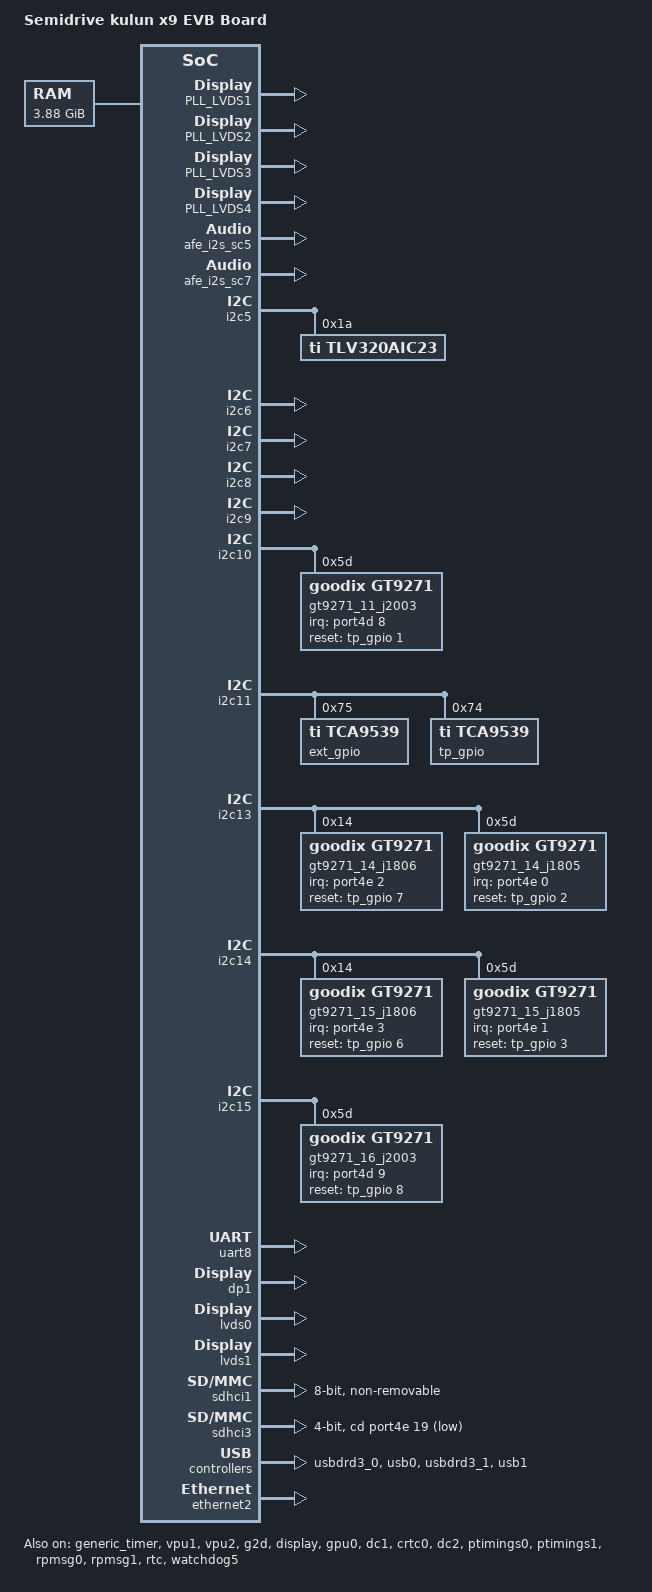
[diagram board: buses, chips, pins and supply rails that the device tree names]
/*
 * Semidrive kunlun platform DTS file
 *
 * Copyright (C) 2019, Semidrive  Communications Inc.
 *
 * This file is licensed under a dual GPLv2 or X11 license.
 */

/dts-v1/;

#include "../x9_high_ecockpit.dtsi"
#include "x9_high_evb_memdisk-clk-ctrl.dtsi"
#include "../lcd-timings.dtsi"
#include <dt-bindings/pinctrl/pins-sdx9.h>
#include <dt-bindings/rpmsg/sd,x9h-default.h>

/ {
	model = "Semidrive kulun x9 EVB Board";

	compatible = "semidrive,kunlun";

	aliases {
		serial0 = &uart8;
		ethernet2 = &ethernet2;
	};

	memory@50000000 {
		device_type = "memory";
		reg = <0 0x48000000 0 0xf8000000>;
	};

	reserved-memory {
		#address-cells = <2>;
		#size-cells = <2>;
		ranges;

		/* Default Common CMA Pool */
		/* QUIRK: Must be kept in the lower 4096 MiBs of DRAM banks for VE */
		linux,cma {
			compatible = "shared-dma-pool";
			reusable;
			size = <0x0 0x20000000>; /* 512MB */
			/* 4GB maximum in case of 32-bit only capable devices */
			alloc-ranges = <0x0 0x0 0x0 0xffffffff>;
			linux,cma-default;
		};

		rproc_0_safety: rproc@0 {
			compatible = "shared-dma-pool";
			no-map;
			reg = <0x0 RPMSG0_MEM_POOL_BASE 0x0 RPMSG0_MEM_POOL_SIZE>;
		};

		rproc_1_secure: rproc@1 {
			compatible = "shared-dma-pool";
			no-map;
			reg = <0x0 RPMSG1_MEM_POOL_BASE 0x0 RPMSG1_MEM_POOL_SIZE>;
		};

		memdisk_reserved: memdisk@80000000 {
			reg = <0x0 0x80000000 0x0 0x80000000>;
			no-map;
			status = "okay";
		};
	};

	chosen {
		bootargs = "root=/dev/ram0 rootfstype=ramfs highres=0 earlycon loglevel=4 console=ttyS0,115200n8 androidboot.mode=normal androidboot.selinux=permissive  androidboot.debuggable=0 androidboot.dm_verity=disable init=/init blkdevparts=memdisk0:1152M(system),512M(userdata),256M(vendor) ";
		stdout-path = "serial0";
		linux,initrd-start = <0x4fe00000>;
		linux,initrd-end   = <0x5008cba2>;
	};

	sound_tlv320aic23: sound@tlv320aic23 {
		compatible = "semidrive,x9-tlv320aic23";
		semidrive,hp-spk-amp-warmup-time-us = <1>;
		semidrive,hp-spk-amp-shutdown-time-us = <800>;
		semidrive,audio-codec = <&tlv320aic23>;
		//jack-gpio = <&ext_gpio 4 GPIO_ACTIVE_HIGH>;
		//pinctrl-names = "default", "extamp_on", "extamp_off";
		//pinctrl-0 = <&aud_pins_default>;
		//pinctrl-1 = <&aud_pins_extamp_on>;
		//pinctrl-2 = <&aud_pins_extamp_off>;
		status = "okay";
	};

	memdisk: memdisk@0 {
		#address-cells = <2>;
		#size-cells = <2>;
		compatible = "semidrive,memdisk";
		memory-region = <&memdisk_reserved>;
		status = "okay";
	};
};
/* some plls just disabled because the emu not include the module, if you confirm it's included, you can enabled it */
&PLL_CPU1A {
	status = "okay";
};
&PLL_CPU1B {
	status = "okay";
};

&PLL_GPU1 {
	status = "okay";
};
&PLL_GPU2 {
	status = "okay";
};
&PLL_VPU {
	status = "okay";
};
&PLL_VSN {
	status = "disabled";
};
&PLL_HPI {
	status = "okay";
};
&PLL_HIS {
	status = "okay";
};
&PLL_DDR {
	status = "okay";
};
&PLL3 {
	status = "okay";
};
&PLL4 {
	status = "okay";
};
&PLL5 {
	status = "okay";
};
&PLL6 {
	status = "okay";
};
&PLL7 {
	status = "okay";
};
&PLL_DISP {
	status = "okay";
};
&PLL_LVDS1 {
	status = "okay";
};
&PLL_LVDS2 {
	status = "okay";
};
&PLL_LVDS3 {
	status = "okay";
};
&PLL_LVDS4 {
	status = "okay";
};

&dmac2 {
	status = "okay";
};

&dmac3 {
	status = "okay";
};

&dmac4 {
	status = "okay";
};

&dmac5 {
	status = "okay";
};

&dmac6 {
	status = "okay";
};

&dmac7 {
	status = "okay";
};

&afe_i2s_sc5{
	dmas = <&dmac2 X9_DMA_SLV_ID_I2S_SC6_TX>, <&dmac2 X9_DMA_SLV_ID_I2S_SC6_RX>;
	dma-names = "tx", "rx";
	status = "okay";
};

&afe_i2s_sc7{
	dmas = <&dmac2 X9_DMA_SLV_ID_I2S_SC8_TX>, <&dmac2 X9_DMA_SLV_ID_I2S_SC8_RX>;
	dma-names = "tx", "rx";
	status = "okay";
};

&i2c5 {
        status = "okay";
	tlv320aic23: codec@1a {
		compatible = "ti,tlv320aic23";
		reg = <0x1a>;
	};
	/*
	tlv320aic23: codec@1b {
		compatible = "ti,tlv320aic23";
		reg = <0x1b>;
	}; */
};

&i2c6 {
	status = "okay";
};

&i2c7 {
        status = "okay";
};

&i2c8 {
        status = "okay";
};

&i2c9 {
        status = "okay";
};


&i2c10 {
        status = "okay";
	gt9271_11_j2003:gt9271_11_j2003@5d {
		//pinctrl-names = "default";
		//pinctrl-0 = <&pinctrl_gpiotouch_mipi>;
		compatible = "goodix,gt9271";
		irq-gpios = <&port4d 8 0>;	/*io56*/
		reset-gpios = <&tp_gpio 1 0>;	/*index 1*/
		reg = <0x5d>;
	};
};

&i2c11 {
        status = "okay";
	ext_gpio: gpio@75 {
		compatible = "ti,tca9539";
		reg = <0x75>;
		#gpio-cells = <2>;
		gpio-controller;
	};
	tp_gpio: gpio@74 {
		compatible = "ti,tca9539";
		reg = <0x74>;
		#gpio-cells = <2>;
		gpio-controller;
	};
};

&i2c12 {
	status = "disabled";
};

&i2c13 {
        status = "okay";
	gt9271_14_j1806:gt9271_14_j1806@14 {
                //pinctrl-names = "default";
                //pinctrl-0 = <&pinctrl_gpiotouch_lvds>;
                compatible = "goodix,gt9271";
		irq-gpios = <&port4e 2 0>;	/*io82*/
                reset-gpios = <&tp_gpio 7 0>;	/*index 8*/
                reg = <0x14>;
        };
	gt9271_14_j1805:gt9271_14_j1805@5d {
                //pinctrl-names = "default";
                //pinctrl-0 = <&pinctrl_gpiotouch_lvds>;
                compatible = "goodix,gt9271";
		irq-gpios = <&port4e 0 0>;	/*io80*/
                reset-gpios = <&tp_gpio 2 0>;	/*index 2*/
                reg = <0x5d>;
        };

};

&i2c14 {
	status = "okay";
	gt9271_15_j1806:gt9271_15_j1806@14 {
		//pinctrl-names = "default";
		//pinctrl-0 = <&pinctrl_gpiotouch_lvds>;
		compatible = "goodix,gt9271";
		irq-gpios = <&port4e 3 0>;	/*io83*/
		reset-gpios = <&tp_gpio 6 0>;	/*index 6*/
		reg = <0x14>;
	};
	gt9271_15_j1805:gt9271_15_j1805@5d {
		//pinctrl-names = "default";
		//pinctrl-0 = <&pinctrl_gpiotouch_lvds>;
		compatible = "goodix,gt9271";
		irq-gpios = <&port4e 1 0>;	/*io81*/
		reset-gpios = <&tp_gpio 3 0>;		/*index 3*/
		reg = <0x5d>;
	};
};

&i2c15 {
	status = "okay";
	gt9271_16_j2003:gt9271_16_j2003@5d {
		//pinctrl-names = "default";
		//pinctrl-0 = <&pinctrl_gpiotouch_mipi>;
		compatible = "goodix,gt9271";
		irq-gpios = <&port4d 9 0>;	/*io57*/
		reset-gpios = <&tp_gpio 8 0>;	/*index 8*/
		reg = <0x5d>;
	};
};

&uart8 {
	dmas = <&dmac2 X9_DMA_SLV_ID_UART9_TX>, <&dmac2 X9_DMA_SLV_ID_UART9_RX>;
	dma-names = "tx", "rx";
	status = "okay";
};

&generic_timer {
	status = "okay";
};

&vpu1 {
    status = "okay";
};

&vpu2 {
    status = "okay";
};

&g2d {
	status = "okay";
};

&display {
	sdriv,crtc = <&crtc0 &crtc1>;
	status = "okay";
};

&gpu0 {
	status = "okay";
};

&dp1 {
	status = "okay";
};

&dc1 {
	status = "okay";
};

&crtc0 {
	dpc-master = <&dp1 &dc1>;
	status = "okay";

	crtc0_out: port {
		crtc0_out_interface: endpoint@0 {
			remote-endpoint = <&lvds_in_crtc0>;
		};
	};
};

&dc2 {
	status = "okay";
};

&crtc1 {
	dpc-master = <&dc2>;

	crtc1_out: port {
		crtc1_out_interface: endpoint@0 {
			remote-endpoint = <&lvds_in_crtc1>;
		};
	};
};

&lvds0 {
	status = "okay";
};

&lvds1 {
	status = "okay";
};

&dtimings0 {
	native-mode = <&hd1280x800>;
};

&dtimings1 {
	native-mode = <&hd1280x800_1>;
};

&ptimings0 {
	status = "okay";
};

&ptimings1 {
	status = "okay";
};

&pinctrl {
	pinctrl-names = "default";

	sdx9-evk {
		pinctrl_mshc1: mshc1grp {
		kunlun,pins = <
			X9_PINCTRL_EMMC1_CLK__MSHC1_CLK_1 		X9_PINCTRL_OPEN_DRAIN_DISABLE
			X9_PINCTRL_EMMC1_CMD__MSHC1_CMD_1		X9_PINCTRL_OPEN_DRAIN_DISABLE
			X9_PINCTRL_EMMC1_DATA0__MSHC1_DATA_0_1	X9_PINCTRL_OPEN_DRAIN_DISABLE
			X9_PINCTRL_EMMC1_DATA1__MSHC1_DATA_1_1	X9_PINCTRL_OPEN_DRAIN_DISABLE
			X9_PINCTRL_EMMC1_DATA2__MSHC1_DATA_2_1	X9_PINCTRL_OPEN_DRAIN_DISABLE
			X9_PINCTRL_EMMC1_DATA3__MSHC1_DATA_3_1	X9_PINCTRL_OPEN_DRAIN_DISABLE
			X9_PINCTRL_EMMC1_DATA4__MSHC1_DATA_4_1	X9_PINCTRL_OPEN_DRAIN_DISABLE
			X9_PINCTRL_EMMC1_DATA5__MSHC1_DATA_5_1	X9_PINCTRL_OPEN_DRAIN_DISABLE
			X9_PINCTRL_EMMC1_DATA6__MSHC1_DATA_6_1	X9_PINCTRL_OPEN_DRAIN_DISABLE
			X9_PINCTRL_EMMC1_DATA7__MSHC1_DATA_7_1	X9_PINCTRL_OPEN_DRAIN_DISABLE
			X9_PINCTRL_EMMC1_STROBE__MSHC1_STB_1		X9_PINCTRL_OPEN_DRAIN_ENABLE
			X9_PINCTRL_EMMC1_RESET_N__MSHC1_RST_N_1	X9_PINCTRL_OPEN_DRAIN_DISABLE
			>;
		};

		pinctrl_gpiotouch_lvds: touchgrp_lvds {
                        kunlun,pins = <
			X9_PINCTRL_I2S_MC_SD4__GPIO_MUX2_IO80_1          0x00
			X9_PINCTRL_I2S_MC_SD5__GPIO_MUX2_IO81_1          0x00
                        X9_PINCTRL_I2S_MC_SD6__GPIO_MUX2_IO82_1          0x00
                        X9_PINCTRL_I2S_MC_SD7__GPIO_MUX2_IO83_1          0x00
                        >;
                };
		pinctrl_gpiotouch_mipi: touchgrp_mipi {
                        kunlun,pins = <
			X9_PINCTRL_I2S_SC3_SCK__GPIO_MUX2_IO56_1          0x00
			X9_PINCTRL_I2S_SC3_WS__GPIO_MUX2_IO57_1          0x00
                        >;
                };
		pinctrl_sddetect: sddetect {
			kunlun,pins = <
			X9_PINCTRL_EMMC2_DATA1__GPIO_MUX2_IO99_1	X9_PINCTRL_OPEN_DRAIN_ENABLE
			>;
		};
	};
};

&gpio4 {
	pinctrl-names = "default";
	pinctrl-0 = <&pinctrl_gpiotouch_lvds &pinctrl_gpiotouch_mipi>;
	status = "okay";
};

&sdhci1 {
	#clock-cells = <1>;
	clocks = <&EMMC1>;
	clock-names = "core";
	max-frequency = <160000000>;
	bus-width = <8>;
	non-removable;
	no-sdio;
	no-sd;
	card-is-emmc;
	disable-wp;
	cap-mmc-highspeed;
	keep-power-in-suspend;
	mmc-ddr-1_8v;
	mmc-hs200-1_8v;
	mmc-hs400-1_8v;
	mmc-hs400-enhanced-strobe;
	status = "okay";
};

&sdhci3 {
	#clock-cells = <1>;
	clocks = <&EMMC3>;
	clock-names = "core";
	max-frequency = <25000000>;
	pinctrl-names = "default";
	pinctrl-0 = <&pinctrl_sddetect>;
	cd-gpios = <&port4e 19 GPIO_ACTIVE_LOW>;
	bus-width = <4>;
	no-1-8-v;
	no-mmc;
	no-sdio;
	disable-wp;
	keep-power-in-suspend;
	status = "okay";
};

&mbox {
	status = "okay";
};

&mbox_test {
	status = "okay";
};

&rpmsg0 {
	memory-region = <&rproc_0_safety>;
	reg = <0x0 RPMSG0_MEM_HEAD_BASE 0x0 RPMSG0_MEM_HEAD_SIZE>;
	status = "okay";
};

&rpmsg1 {
	memory-region = <&rproc_1_secure>;
	reg = <0x0 RPMSG1_MEM_HEAD_BASE 0x0 RPMSG1_MEM_HEAD_SIZE>;
	status = "okay";
};

&smmu {
	status = "disabled";
};

&rtc {
	status = "okay";
};

&usbdrd3_0 {
	status = "okay";
};

&usb0 {
	status = "okay";
};

&usbdrd3_1 {
	status = "okay";
};

&usb1 {
	status = "okay";
};

&ethernet2 {
	status = "okay";
};

&watchdog5 {
	wdt,auto-run = "false";
	status = "okay";
};
